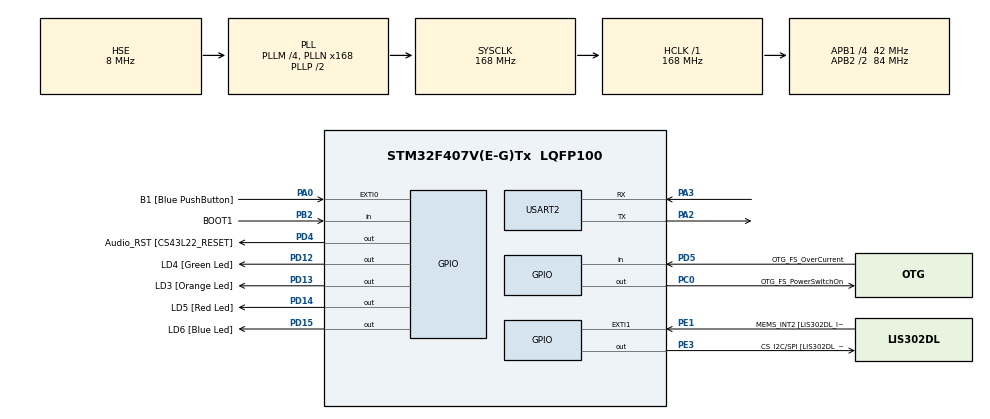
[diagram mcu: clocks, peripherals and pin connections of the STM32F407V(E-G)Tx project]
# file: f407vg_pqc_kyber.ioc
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Mcu.Family=STM32F4
Mcu.Name=STM32F407V(E-G)Tx
Mcu.Package=LQFP100
NVIC.HASH_RNG_IRQn=true\:0\:0\:false\:false\:true\:true\:true
NVIC.PriorityGroup=NVIC_PRIORITYGROUP_0
PA0-WKUP.GPIO_Label=B1 [Blue PushButton]
PA0-WKUP.GPIO_ModeDefaultEXTI=GPIO_MODE_EVT_RISING
PA0-WKUP.GPIO_PuPd=GPIO_NOPULL
PA0-WKUP.Signal=GPXTI0
PA10.GPIO_Label=OTG_FS_ID
PA10.GPIO_Mode=GPIO_MODE_AF_PP
PA10.GPIO_PuPd=GPIO_NOPULL
PA10.GPIO_Speed=GPIO_SPEED_FREQ_LOW
PA10.Signal=USB_OTG_FS_ID
PA11.GPIO_Label=OTG_FS_DM
PA11.GPIO_Mode=GPIO_MODE_AF_PP
PA11.GPIO_PuPd=GPIO_NOPULL
PA11.GPIO_Speed=GPIO_SPEED_FREQ_LOW
PA11.Signal=USB_OTG_FS_DM
PA12.GPIO_Label=OTG_FS_DP
PA12.GPIO_Mode=GPIO_MODE_AF_PP
PA12.GPIO_PuPd=GPIO_NOPULL
PA12.GPIO_Speed=GPIO_SPEED_FREQ_LOW
PA12.Signal=USB_OTG_FS_DP
PA13.GPIO_Label=SWDIO
PA13.Mode=Serial_Wire
PA13.Signal=SYS_JTMS-SWDIO
PA14.GPIO_Label=SWCLK
PA14.Mode=Serial_Wire
PA14.Signal=SYS_JTCK-SWCLK
PA2.Mode=Asynchronous
PA2.Signal=USART2_TX
PA3.Mode=Asynchronous
PA3.Signal=USART2_RX
PA4.GPIO_Label=I2S3_WS [CS43L22_LRCK]
PA4.GPIO_Mode=GPIO_MODE_AF_PP
PA4.GPIO_PuPd=GPIO_NOPULL
PA4.GPIO_Speed=GPIO_SPEED_FREQ_LOW
PA4.Signal=I2S3_WS
PA5.GPIO_Label=SPI1_SCK [LIS302DL_SCL/SPC]
PA5.GPIO_Mode=GPIO_MODE_AF_PP
PA5.GPIO_PuPd=GPIO_NOPULL
PA5.GPIO_Speed=GPIO_SPEED_FREQ_LOW
PA5.Signal=SPI1_SCK
PA6.GPIO_Label=SPI1_MISO [LIS302DL_SDO]
PA6.GPIO_Mode=GPIO_MODE_AF_PP
PA6.GPIO_PuPd=GPIO_NOPULL
PA6.GPIO_Speed=GPIO_SPEED_FREQ_LOW
PA6.Signal=SPI1_MISO
PA7.GPIO_Label=SPI1_MOSI [LIS302DL_SDA/SDI/SDO]
PA7.GPIO_Mode=GPIO_MODE_AF_PP
PA7.GPIO_PuPd=GPIO_NOPULL
PA7.GPIO_Speed=GPIO_SPEED_FREQ_LOW
PA7.Signal=SPI1_MOSI
PA9.GPIO_Label=VBUS_FS
PA9.GPIO_Mode=GPIO_MODE_INPUT
PA9.GPIO_PuPd=GPIO_NOPULL
PA9.Signal=USB_OTG_FS_VBUS
PB10.GPIO_Label=CLK_IN [MP45DT02_CLK]
PB10.GPIO_Mode=GPIO_MODE_AF_PP
PB10.GPIO_PuPd=GPIO_NOPULL
PB10.GPIO_Speed=GPIO_SPEED_FREQ_LOW
PB10.Signal=I2S2_CK
PB2.GPIO_Label=BOOT1
PB2.GPIO_Mode=GPIO_MODE_INPUT
PB2.GPIO_PuPd=GPIO_NOPULL
PB2.Signal=GPIO_Input
PB3.GPIO_Label=SWO
PB3.Signal=SYS_JTDO-SWO
PB6.GPIO_Label=Audio_SCL [CS43L22_SCL]
PB6.GPIO_Mode=GPIO_MODE_AF_OD
PB6.GPIO_Pu=GPIO_PULLUP
PB6.GPIO_PuPd=GPIO_NOPULL
PB6.GPIO_Speed=GPIO_SPEED_FREQ_LOW
PB6.Signal=I2C1_SCL
PB9.GPIO_Label=Audio_SDA [CS43L22_SDA]
PB9.GPIO_Mode=GPIO_MODE_AF_OD
PB9.GPIO_Pu=GPIO_PULLUP
PB9.GPIO_PuPd=GPIO_NOPULL
PB9.GPIO_Speed=GPIO_SPEED_FREQ_LOW
PB9.Signal=I2C1_SDA
PC0.GPIO_Label=OTG_FS_PowerSwitchOn
PC0.GPIO_PuPd=GPIO_NOPULL
PC0.GPIO_Speed=GPIO_SPEED_FREQ_LOW
PC0.PinState=GPIO_PIN_SET
PC0.Signal=GPIO_Output
PC10.GPIO_Label=I2S3_SCK [CS43L22_SCLK]
PC10.GPIO_Mode=GPIO_MODE_AF_PP
PC10.GPIO_PuPd=GPIO_NOPULL
PC10.GPIO_Speed=GPIO_SPEED_FREQ_LOW
PC10.Signal=I2S3_CK
PC12.GPIO_Label=I2S3_SD [CS43L22_SDIN]
PC12.GPIO_Mode=GPIO_MODE_AF_PP
PC12.GPIO_PuPd=GPIO_NOPULL
PC12.GPIO_Speed=GPIO_SPEED_FREQ_LOW
PC12.Signal=I2S3_SD
PC14-OSC32_IN.GPIO_Label=PC14-OSC32_IN
PC14-OSC32_IN.Mode=LSE-External-Oscillator
PC14-OSC32_IN.Signal=RCC_OSC32_IN
PC15-OSC32_OUT.GPIO_Label=PC15-OSC32_OUT
PC15-OSC32_OUT.Mode=LSE-External-Oscillator
PC15-OSC32_OUT.Signal=RCC_OSC32_OUT
PC3.GPIO_Label=PDM_OUT [MP45DT02_DOUT]
PC3.GPIO_Mode=GPIO_MODE_AF_PP
PC3.GPIO_PuPd=GPIO_NOPULL
PC3.GPIO_Speed=GPIO_SPEED_FREQ_LOW
PC3.Signal=I2S2_SD
PC7.GPIO_Label=I2S3_MCK [CS43L22_MCLK]
PC7.GPIO_Mode=GPIO_MODE_AF_PP
PC7.GPIO_PuPd=GPIO_NOPULL
PC7.GPIO_Speed=GPIO_SPEED_FREQ_LOW
PC7.Signal=I2S3_MCK
PD12.GPIO_Label=LD4 [Green Led]
PD12.GPIO_PuPd=GPIO_NOPULL
PD12.GPIO_Speed=GPIO_SPEED_FREQ_LOW
PD12.Signal=GPIO_Output
PD13.GPIO_Label=LD3 [Orange Led]
PD13.GPIO_PuPd=GPIO_NOPULL
PD13.GPIO_Speed=GPIO_SPEED_FREQ_LOW
PD13.Signal=GPIO_Output
PD14.GPIO_Label=LD5 [Red Led]
PD14.GPIO_PuPd=GPIO_NOPULL
PD14.GPIO_Speed=GPIO_SPEED_FREQ_LOW
PD14.Signal=GPIO_Output
PD15.GPIO_Label=LD6 [Blue Led]
PD15.GPIO_PuPd=GPIO_NOPULL
PD15.GPIO_Speed=GPIO_SPEED_FREQ_LOW
PD15.Signal=GPIO_Output
PD4.GPIO_Label=Audio_RST [CS43L22_RESET]
PD4.GPIO_PuPd=GPIO_NOPULL
PD4.GPIO_Speed=GPIO_SPEED_FREQ_LOW
PD4.Signal=GPIO_Output
PD5.GPIO_Label=OTG_FS_OverCurrent
PD5.GPIO_Mode=GPIO_MODE_INPUT
PD5.GPIO_PuPd=GPIO_NOPULL
PD5.Signal=GPIO_Input
PE1.GPIO_Label=MEMS_INT2 [LIS302DL_INT2]
PE1.GPIO_ModeDefaultEXTI=GPIO_MODE_EVT_RISING
PE1.GPIO_PuPd=GPIO_NOPULL
PE1.Signal=GPXTI1
PE3.GPIO_Label=CS_I2C/SPI [LIS302DL_CS_I2C/SPI]
PE3.GPIO_PuPd=GPIO_NOPULL
PE3.GPIO_Speed=GPIO_SPEED_FREQ_LOW
PE3.Signal=GPIO_Output
PH0-OSC_IN.GPIO_Label=PH0-OSC_IN
PH0-OSC_IN.Mode=HSE-External-Oscillator
PH0-OSC_IN.Signal=RCC_OSC_IN
PH1-OSC_OUT.GPIO_Label=PH1-OSC_OUT
PH1-OSC_OUT.Mode=HSE-External-Oscillator
PH1-OSC_OUT.Signal=RCC_OSC_OUT
ProjectManager.HeapSize=0x200
ProjectManager.StackSize=0x400
ProjectManager.TargetToolchain=STM32CubeIDE
RCC.48MHZClocksFreq_Value=48000000
RCC.AHBFreq_Value=168000000
RCC.APB1CLKDivider=RCC_HCLK_DIV4
RCC.APB1Freq_Value=42000000
RCC.APB1TimFreq_Value=84000000
RCC.APB2CLKDivider=RCC_HCLK_DIV2
RCC.APB2Freq_Value=84000000
RCC.APB2TimFreq_Value=168000000
RCC.CortexFreq_Value=168000000
RCC.HCLKFreq_Value=168000000
RCC.HSE_VALUE=8000000
RCC.HSI_VALUE=16000000
RCC.PLLM=4
RCC.PLLN=168
RCC.PLLQ=7
RCC.PLLSourceVirtual=RCC_PLLSOURCE_HSE
RCC.SYSCLKFreq_VALUE=168000000
RCC.SYSCLKSource=RCC_SYSCLKSOURCE_PLLCLK
RCC.VCOOutputFreq_Value=336000000
TIM2.Period=1000000
TIM2.Prescaler=168
USART2.VirtualMode=VM_ASYNC
VP_RNG_VS_RNG.Mode=RNG_Activate
VP_TIM2_VS_ClockSourceINT.Mode=Internal
board=STM32F407G-DISC1

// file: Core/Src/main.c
/* USER CODE BEGIN Header */
/**
  ******************************************************************************
  * @file           : main.c
  * @brief          : Main program body
  ******************************************************************************
  * @attention
  *
  * Copyright (c) 2021 STMicroelectronics.
  * All rights reserved.
  *
  * This software is licensed under terms that can be found in the LICENSE file
  * in the root directory of this software component.
  * If no LICENSE file comes with this software, it is provided AS-IS.
  *
  ******************************************************************************
  */
/* USER CODE END Header */
#include "main.h"

/* USER CODE BEGIN Includes */
#include "test_kyber.h"
#include <stdio.h>  // printf ( linker flag: "-u _printf_float" uses 7kB memory)

/* USER CODE END Includes */

RNG_HandleTypeDef hrng;

TIM_HandleTypeDef htim2;

UART_HandleTypeDef huart2;

/* USER CODE BEGIN PV */
volatile unsigned int *DWT_CYCCNT  ;
volatile unsigned int *DWT_CONTROL ;
volatile unsigned int *SCB_DEMCR   ;
/* USER CODE END PV */

void SystemClock_Config(void);
static void MX_GPIO_Init(void);
static void MX_RNG_Init(void);
static void MX_TIM2_Init(void);
static void MX_USART2_UART_Init(void);
/* USER CODE BEGIN PFP */
int test_kyber_speed();

/* USER CODE END PFP */

int main(void)
{

  /* MCU Configuration--------------------------------------------------------*/

  /* Reset of all peripherals, Initializes the Flash interface and the Systick. */
  HAL_Init();

  /* Configure the system clock */
  SystemClock_Config();

  /* Initialize all configured peripherals */
  MX_GPIO_Init();
  MX_RNG_Init();
  MX_TIM2_Init();
  MX_USART2_UART_Init();
  /* USER CODE BEGIN 2 */
  HAL_TIM_Base_Start(&htim2);
  uint32_t time = 0;
  unsigned int cycles = 0;
  printf("Kyber\n");

  /* USER CODE END 2 */

  /* Infinite loop */
  while (1)
  {

    /* USER CODE BEGIN 3 */
	  printf("running tests...\n");
	  time = 0;
	  cycles = 0;
	  perf_counter_reset();

	  TIM2->CNT = 0;
	  perf_counter_start();

	  // test_keys();
	  test_xtea_speed();
	  test_kyber_speed();

	  perf_counter_stop();
	  time = TIM2->CNT; // time in micro seconds
	  cycles = perf_counter_value(); // CPU Cycles
	  printf("Done!\n");

	  HAL_Delay(3000);
  }
  /* USER CODE END 3 */
}

void SystemClock_Config(void)
{
  RCC_OscInitTypeDef RCC_OscInitStruct = {0};
  RCC_ClkInitTypeDef RCC_ClkInitStruct = {0};

  /** Configure the main internal regulator output voltage
  */
  __HAL_RCC_PWR_CLK_ENABLE();
  __HAL_PWR_VOLTAGESCALING_CONFIG(PWR_REGULATOR_VOLTAGE_SCALE1);
  /** Initializes the RCC Oscillators according to the specified parameters
  * in the RCC_OscInitTypeDef structure.
  */
  RCC_OscInitStruct.OscillatorType = RCC_OSCILLATORTYPE_HSE;
  RCC_OscInitStruct.HSEState = RCC_HSE_ON;
  RCC_OscInitStruct.PLL.PLLState = RCC_PLL_ON;
  RCC_OscInitStruct.PLL.PLLSource = RCC_PLLSOURCE_HSE;
  RCC_OscInitStruct.PLL.PLLM = 4;
  RCC_OscInitStruct.PLL.PLLN = 168;
  RCC_OscInitStruct.PLL.PLLP = RCC_PLLP_DIV2;
  RCC_OscInitStruct.PLL.PLLQ = 7;
  if (HAL_RCC_OscConfig(&RCC_OscInitStruct) != HAL_OK)
  {
    Error_Handler();
  }
  /** Initializes the CPU, AHB and APB buses clocks
  */
  RCC_ClkInitStruct.ClockType = RCC_CLOCKTYPE_HCLK|RCC_CLOCKTYPE_SYSCLK
                              |RCC_CLOCKTYPE_PCLK1|RCC_CLOCKTYPE_PCLK2;
  RCC_ClkInitStruct.SYSCLKSource = RCC_SYSCLKSOURCE_PLLCLK;
  RCC_ClkInitStruct.AHBCLKDivider = RCC_SYSCLK_DIV1;
  RCC_ClkInitStruct.APB1CLKDivider = RCC_HCLK_DIV4;
  RCC_ClkInitStruct.APB2CLKDivider = RCC_HCLK_DIV2;

  if (HAL_RCC_ClockConfig(&RCC_ClkInitStruct, FLASH_LATENCY_5) != HAL_OK)
  {
    Error_Handler();
  }
}

static void MX_RNG_Init(void)
{

  hrng.Instance = RNG;
  if (HAL_RNG_Init(&hrng) != HAL_OK)
  {
    Error_Handler();
  }

}

static void MX_TIM2_Init(void)
{

  TIM_ClockConfigTypeDef sClockSourceConfig = {0};
  TIM_MasterConfigTypeDef sMasterConfig = {0};

  htim2.Instance = TIM2;
  htim2.Init.Prescaler = 168;
  htim2.Init.CounterMode = TIM_COUNTERMODE_UP;
  htim2.Init.Period = 1000000;
  htim2.Init.ClockDivision = TIM_CLOCKDIVISION_DIV1;
  htim2.Init.AutoReloadPreload = TIM_AUTORELOAD_PRELOAD_DISABLE;
  if (HAL_TIM_Base_Init(&htim2) != HAL_OK)
  {
    Error_Handler();
  }
  sClockSourceConfig.ClockSource = TIM_CLOCKSOURCE_INTERNAL;
  if (HAL_TIM_ConfigClockSource(&htim2, &sClockSourceConfig) != HAL_OK)
  {
    Error_Handler();
  }
  sMasterConfig.MasterOutputTrigger = TIM_TRGO_RESET;
  sMasterConfig.MasterSlaveMode = TIM_MASTERSLAVEMODE_DISABLE;
  if (HAL_TIMEx_MasterConfigSynchronization(&htim2, &sMasterConfig) != HAL_OK)
  {
    Error_Handler();
  }

}

static void MX_USART2_UART_Init(void)
{

  huart2.Instance = USART2;
  huart2.Init.BaudRate = 115200;
  huart2.Init.WordLength = UART_WORDLENGTH_8B;
  huart2.Init.StopBits = UART_STOPBITS_1;
  huart2.Init.Parity = UART_PARITY_NONE;
  huart2.Init.Mode = UART_MODE_TX_RX;
  huart2.Init.HwFlowCtl = UART_HWCONTROL_NONE;
  huart2.Init.OverSampling = UART_OVERSAMPLING_16;
  if (HAL_UART_Init(&huart2) != HAL_OK)
  {
    Error_Handler();
  }

}

static void MX_GPIO_Init(void)
{
  GPIO_InitTypeDef GPIO_InitStruct = {0};

  /* GPIO Ports Clock Enable */
  __HAL_RCC_GPIOE_CLK_ENABLE();
  __HAL_RCC_GPIOC_CLK_ENABLE();
  __HAL_RCC_GPIOH_CLK_ENABLE();
  __HAL_RCC_GPIOA_CLK_ENABLE();
  __HAL_RCC_GPIOB_CLK_ENABLE();
  __HAL_RCC_GPIOD_CLK_ENABLE();

  /*Configure GPIO pin Output Level */
  HAL_GPIO_WritePin(CS_I2C_SPI_GPIO_Port, CS_I2C_SPI_Pin, GPIO_PIN_RESET);

  /*Configure GPIO pin Output Level */
  HAL_GPIO_WritePin(OTG_FS_PowerSwitchOn_GPIO_Port, OTG_FS_PowerSwitchOn_Pin, GPIO_PIN_SET);

  /*Configure GPIO pin Output Level */
  HAL_GPIO_WritePin(GPIOD, LD4_Pin|LD3_Pin|LD5_Pin|LD6_Pin
                          |Audio_RST_Pin, GPIO_PIN_RESET);

  /*Configure GPIO pin : CS_I2C_SPI_Pin */
  GPIO_InitStruct.Pin = CS_I2C_SPI_Pin;
  GPIO_InitStruct.Mode = GPIO_MODE_OUTPUT_PP;
  GPIO_InitStruct.Pull = GPIO_NOPULL;
  GPIO_InitStruct.Speed = GPIO_SPEED_FREQ_LOW;
  HAL_GPIO_Init(CS_I2C_SPI_GPIO_Port, &GPIO_InitStruct);

  /*Configure GPIO pin : OTG_FS_PowerSwitchOn_Pin */
  GPIO_InitStruct.Pin = OTG_FS_PowerSwitchOn_Pin;
  GPIO_InitStruct.Mode = GPIO_MODE_OUTPUT_PP;
  GPIO_InitStruct.Pull = GPIO_NOPULL;
  GPIO_InitStruct.Speed = GPIO_SPEED_FREQ_LOW;
  HAL_GPIO_Init(OTG_FS_PowerSwitchOn_GPIO_Port, &GPIO_InitStruct);

  /*Configure GPIO pin : PDM_OUT_Pin */
  GPIO_InitStruct.Pin = PDM_OUT_Pin;
  GPIO_InitStruct.Mode = GPIO_MODE_AF_PP;
  GPIO_InitStruct.Pull = GPIO_NOPULL;
  GPIO_InitStruct.Speed = GPIO_SPEED_FREQ_LOW;
  GPIO_InitStruct.Alternate = GPIO_AF5_SPI2;
  HAL_GPIO_Init(PDM_OUT_GPIO_Port, &GPIO_InitStruct);

  /*Configure GPIO pin : B1_Pin */
  GPIO_InitStruct.Pin = B1_Pin;
  GPIO_InitStruct.Mode = GPIO_MODE_EVT_RISING;
  GPIO_InitStruct.Pull = GPIO_NOPULL;
  HAL_GPIO_Init(B1_GPIO_Port, &GPIO_InitStruct);

  /*Configure GPIO pin : I2S3_WS_Pin */
  GPIO_InitStruct.Pin = I2S3_WS_Pin;
  GPIO_InitStruct.Mode = GPIO_MODE_AF_PP;
  GPIO_InitStruct.Pull = GPIO_NOPULL;
  GPIO_InitStruct.Speed = GPIO_SPEED_FREQ_LOW;
  GPIO_InitStruct.Alternate = GPIO_AF6_SPI3;
  HAL_GPIO_Init(I2S3_WS_GPIO_Port, &GPIO_InitStruct);

  /*Configure GPIO pins : SPI1_SCK_Pin SPI1_MISO_Pin SPI1_MOSI_Pin */
  GPIO_InitStruct.Pin = SPI1_SCK_Pin|SPI1_MISO_Pin|SPI1_MOSI_Pin;
  GPIO_InitStruct.Mode = GPIO_MODE_AF_PP;
  GPIO_InitStruct.Pull = GPIO_NOPULL;
  GPIO_InitStruct.Speed = GPIO_SPEED_FREQ_LOW;
  GPIO_InitStruct.Alternate = GPIO_AF5_SPI1;
  HAL_GPIO_Init(GPIOA, &GPIO_InitStruct);

  /*Configure GPIO pin : BOOT1_Pin */
  GPIO_InitStruct.Pin = BOOT1_Pin;
  GPIO_InitStruct.Mode = GPIO_MODE_INPUT;
  GPIO_InitStruct.Pull = GPIO_NOPULL;
  HAL_GPIO_Init(BOOT1_GPIO_Port, &GPIO_InitStruct);

  /*Configure GPIO pin : CLK_IN_Pin */
  GPIO_InitStruct.Pin = CLK_IN_Pin;
  GPIO_InitStruct.Mode = GPIO_MODE_AF_PP;
  GPIO_InitStruct.Pull = GPIO_NOPULL;
  GPIO_InitStruct.Speed = GPIO_SPEED_FREQ_LOW;
  GPIO_InitStruct.Alternate = GPIO_AF5_SPI2;
  HAL_GPIO_Init(CLK_IN_GPIO_Port, &GPIO_InitStruct);

  /*Configure GPIO pins : LD4_Pin LD3_Pin LD5_Pin LD6_Pin
                           Audio_RST_Pin */
  GPIO_InitStruct.Pin = LD4_Pin|LD3_Pin|LD5_Pin|LD6_Pin
                          |Audio_RST_Pin;
  GPIO_InitStruct.Mode = GPIO_MODE_OUTPUT_PP;
  GPIO_InitStruct.Pull = GPIO_NOPULL;
  GPIO_InitStruct.Speed = GPIO_SPEED_FREQ_LOW;
  HAL_GPIO_Init(GPIOD, &GPIO_InitStruct);

  /*Configure GPIO pins : I2S3_MCK_Pin I2S3_SCK_Pin I2S3_SD_Pin */
  GPIO_InitStruct.Pin = I2S3_MCK_Pin|I2S3_SCK_Pin|I2S3_SD_Pin;
  GPIO_InitStruct.Mode = GPIO_MODE_AF_PP;
  GPIO_InitStruct.Pull = GPIO_NOPULL;
  GPIO_InitStruct.Speed = GPIO_SPEED_FREQ_LOW;
  GPIO_InitStruct.Alternate = GPIO_AF6_SPI3;
  HAL_GPIO_Init(GPIOC, &GPIO_InitStruct);

  /*Configure GPIO pin : VBUS_FS_Pin */
  GPIO_InitStruct.Pin = VBUS_FS_Pin;
  GPIO_InitStruct.Mode = GPIO_MODE_INPUT;
  GPIO_InitStruct.Pull = GPIO_NOPULL;
  HAL_GPIO_Init(VBUS_FS_GPIO_Port, &GPIO_InitStruct);

  /*Configure GPIO pins : OTG_FS_ID_Pin OTG_FS_DM_Pin OTG_FS_DP_Pin */
  GPIO_InitStruct.Pin = OTG_FS_ID_Pin|OTG_FS_DM_Pin|OTG_FS_DP_Pin;
  GPIO_InitStruct.Mode = GPIO_MODE_AF_PP;
  GPIO_InitStruct.Pull = GPIO_NOPULL;
  GPIO_InitStruct.Speed = GPIO_SPEED_FREQ_LOW;
  GPIO_InitStruct.Alternate = GPIO_AF10_OTG_FS;
  HAL_GPIO_Init(GPIOA, &GPIO_InitStruct);

  /*Configure GPIO pin : OTG_FS_OverCurrent_Pin */
  GPIO_InitStruct.Pin = OTG_FS_OverCurrent_Pin;
  GPIO_InitStruct.Mode = GPIO_MODE_INPUT;
  GPIO_InitStruct.Pull = GPIO_NOPULL;
  HAL_GPIO_Init(OTG_FS_OverCurrent_GPIO_Port, &GPIO_InitStruct);

  /*Configure GPIO pins : Audio_SCL_Pin Audio_SDA_Pin */
  GPIO_InitStruct.Pin = Audio_SCL_Pin|Audio_SDA_Pin;
  GPIO_InitStruct.Mode = GPIO_MODE_AF_OD;
  GPIO_InitStruct.Pull = GPIO_PULLUP;
  GPIO_InitStruct.Speed = GPIO_SPEED_FREQ_LOW;
  GPIO_InitStruct.Alternate = GPIO_AF4_I2C1;
  HAL_GPIO_Init(GPIOB, &GPIO_InitStruct);

  /*Configure GPIO pin : MEMS_INT2_Pin */
  GPIO_InitStruct.Pin = MEMS_INT2_Pin;
  GPIO_InitStruct.Mode = GPIO_MODE_EVT_RISING;
  GPIO_InitStruct.Pull = GPIO_NOPULL;
  HAL_GPIO_Init(MEMS_INT2_GPIO_Port, &GPIO_InitStruct);

}

/* USER CODE BEGIN 4 */
/**
 * @brief  Retargets the C library printf function to the USART.
 * @param  None
 * @retval None
 */
PUTCHAR_PROTOTYPE {
    /* Place your implementation of fputc here */
    /* e.g. write a character to the EVAL_COM1 and Loop until the end of transmission */
    HAL_UART_Transmit(&huart2, (uint8_t *) &ch, 1, 0xFFFF);

    return ch;
}
void perf_counter_reset(){
    DWT_CYCCNT   = (unsigned int *)0xE0001004; //address of the register
    DWT_CONTROL  = (unsigned int *)0xE0001000; //address of the register
    SCB_DEMCR    = (unsigned int *)0xE000EDFC; //address of the register
    *SCB_DEMCR   = *SCB_DEMCR | 0x01000000;
    *DWT_CYCCNT  = 0; // reset the counter
    *DWT_CONTROL = 0;
}

void perf_counter_start(){
    *DWT_CONTROL = *DWT_CONTROL | 1 ; // enable the counter
}

void perf_counter_stop(){
    *DWT_CONTROL = *DWT_CONTROL | 0 ; // disable the counter
}

unsigned int perf_counter_value(){
    return *DWT_CYCCNT;
}
/* USER CODE END 4 */

void Error_Handler(void)
{
  __disable_irq();
  while (1)
  {
  }
}
